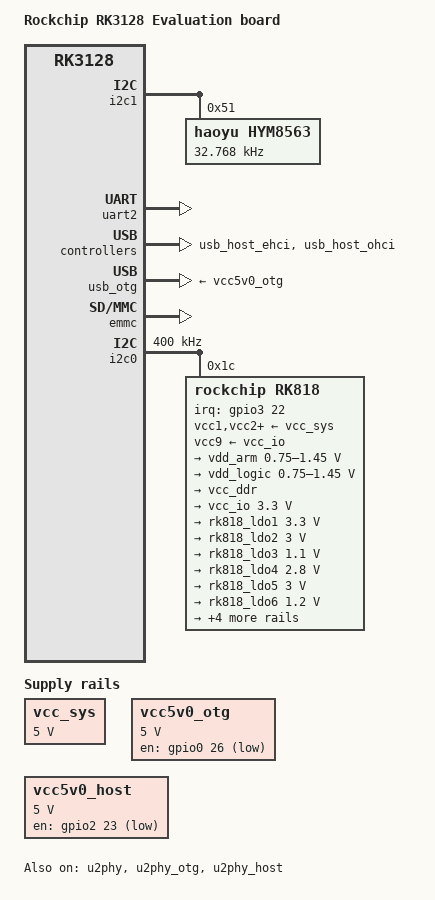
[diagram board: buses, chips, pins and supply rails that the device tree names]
/*
 * (C) Copyright 2017 Rockchip Electronics Co., Ltd
 *
 * SPDX-License-Identifier:     GPL-2.0+
 */

/dts-v1/;

#include "rk3128.dtsi"
#include "rk3128-u-boot.dtsi"

/ {
	model = "Rockchip RK3128 Evaluation board";
	compatible = "rockchip,rk3128-evb", "rockchip,rk3128";

	vcc_sys: vcc-sys {
		compatible = "regulator-fixed";
		regulator-name = "vcc_sys";
		regulator-always-on;
		regulator-boot-on;
		regulator-min-microvolt = <5000000>;
		regulator-max-microvolt = <5000000>;
	};

	vcc5v0_otg: vcc5v0-otg-drv {
		compatible = "regulator-fixed";
		regulator-name = "vcc5v0_otg";
		gpio = <&gpio0 26 GPIO_ACTIVE_HIGH>;
		pinctrl-names = "default";
		pinctrl-0 = <&otg_vbus_drv>;
		regulator-min-microvolt = <5000000>;
		regulator-max-microvolt = <5000000>;
	};

	vcc5v0_host: vcc5v0-host-drv {
		compatible = "regulator-fixed";
		regulator-name = "vcc5v0_host";
		gpio = <&gpio2 23 GPIO_ACTIVE_HIGH>;
		pinctrl-names = "default";
		pinctrl-0 = <&host_vbus_drv>;
		regulator-min-microvolt = <5000000>;
		regulator-max-microvolt = <5000000>;
		regulator-always-on;
	};
};

&i2c1 {
	status = "okay";

        hym8563: hym8563@51 {
		compatible = "haoyu,hym8563";
		reg = <0x51>;
		#clock-cells = <0>;
		clock-frequency = <32768>;
		clock-output-names = "xin32k";
	};
};

&u2phy {
	status = "okay";
};

&u2phy_otg {
	status = "okay";
};

&u2phy_host {
	status = "okay";
};

&uart2 {
	status = "okay";
};

&usb_host_ehci {
	status = "okay";
};

&usb_host_ohci {
	status = "okay";
};

&usb_otg {
	vbus-supply = <&vcc5v0_otg>;
	status = "okay";
};

&emmc {
	fifo-mode;
	status = "okay";
};

&i2c0 {
	status = "okay";
	clock-frequency = <400000>;

	rk818: pmic@1c {
		compatible = "rockchip,rk818";
		status = "okay";
		reg = <0x1c>;
		clock-output-names = "rk818-clkout1", "wifibt_32kin";
		interrupt-parent = <&gpio3>;
		interrupts = <22 IRQ_TYPE_LEVEL_LOW>;
		pinctrl-names = "default";
		pinctrl-0 = <&pmic_int_l>;
		rockchip,system-power-controller;
		wakeup-source;
		#clock-cells = <1>;

		vcc1-supply = <&vcc_sys>;
		vcc2-supply = <&vcc_sys>;
		vcc3-supply = <&vcc_sys>;
		vcc4-supply = <&vcc_sys>;
		vcc6-supply = <&vcc_sys>;
		vcc7-supply = <&vcc_sys>;
		vcc8-supply = <&vcc_sys>;
		vcc9-supply = <&vcc_io>;

		regulators {
			vdd_arm: DCDC_REG1 {
				regulator-name = "vdd_arm";
				regulator-always-on;
				regulator-boot-on;
				regulator-min-microvolt = <750000>;
				regulator-max-microvolt = <1450000>;
				regulator-ramp-delay = <6001>;
				regulator-state-mem {
					regulator-on-in-suspend;
					regulator-suspend-microvolt = <1100000>;
				};
			};

			vdd_logic: DCDC_REG2 {
				regulator-name = "vdd_logic";
				regulator-always-on;
				regulator-boot-on;
				regulator-min-microvolt = <750000>;
				regulator-max-microvolt = <1450000>;
				regulator-ramp-delay = <6001>;
				regulator-state-mem {
					regulator-on-in-suspend;
					regulator-suspend-microvolt = <1100000>;
				};
			};

			vcc_ddr: DCDC_REG3 {
				regulator-name = "vcc_ddr";
				regulator-always-on;
				regulator-boot-on;
				regulator-state-mem {
					regulator-on-in-suspend;
				};
			};

			vcc_io: DCDC_REG4 {
				regulator-name = "vcc_io";
				regulator-always-on;
				regulator-boot-on;
				regulator-min-microvolt = <3300000>;
				regulator-max-microvolt = <3300000>;
				regulator-state-mem {
					regulator-on-in-suspend;
					regulator-suspend-microvolt = <3300000>;
				};
			};

			rk818_ldo1: LDO_REG1 {
				regulator-name = "rk818_ldo1";
				regulator-always-on;
				regulator-boot-on;
				regulator-min-microvolt = <3300000>;
				regulator-max-microvolt = <3300000>;
				regulator-state-mem {
					regulator-on-in-suspend;
					regulator-suspend-microvolt = <3300000>;
				};
			};

			rk818_ldo2: LDO_REG2 {
				regulator-name = "rk818_ldo2";
				regulator-always-on;
				regulator-boot-on;
				regulator-min-microvolt = <3000000>;
				regulator-max-microvolt = <3000000>;
				regulator-state-mem {
					regulator-on-in-suspend;
					regulator-suspend-microvolt = <3000000>;
				};
			};

			rk818_ldo3: LDO_REG3 {
				regulator-name = "rk818_ldo3";
				regulator-always-on;
				regulator-boot-on;
				regulator-min-microvolt = <1100000>;
				regulator-max-microvolt = <1100000>;
				regulator-state-mem {
					regulator-on-in-suspend;
					regulator-suspend-microvolt = <1100000>;
				};
			};

			rk818_ldo4: LDO_REG4 {
				regulator-name = "rk818_ldo4";
				regulator-always-on;
				regulator-boot-on;
				regulator-min-microvolt = <2800000>;
				regulator-max-microvolt = <2800000>;
				regulator-state-mem {
					regulator-on-in-suspend;
					regulator-suspend-microvolt = <2800000>;
				};
			};

			rk818_ldo5: LDO_REG5 {
				regulator-name = "rk818_ldo5";
				regulator-always-on;
				regulator-boot-on;
				regulator-min-microvolt = <3000000>;
				regulator-max-microvolt = <3000000>;
				regulator-state-mem {
					regulator-on-in-suspend;
					regulator-suspend-microvolt = <3000000>;
				};
			};

			rk818_ldo6: LDO_REG6 {
				regulator-name = "rk818_ldo6";
				regulator-always-on;
				regulator-boot-on;
				regulator-min-microvolt = <1200000>;
				regulator-max-microvolt = <1200000>;
				regulator-state-mem {
					regulator-on-in-suspend;
					regulator-suspend-microvolt = <1200000>;
				};
			};

			rk818_ldo7: LDO_REG7 {
				regulator-name = "rk818_ldo7";
				regulator-always-on;
				regulator-boot-on;
				regulator-min-microvolt = <1800000>;
				regulator-max-microvolt = <1800000>;
				regulator-state-mem {
					regulator-on-in-suspend;
					regulator-suspend-microvolt = <1800000>;
				};
			};

			rk818_ldo8: LDO_REG8 {
				regulator-name = "rk818_ldo8";
				regulator-always-on;
				regulator-boot-on;
				regulator-min-microvolt = <1800000>;
				regulator-max-microvolt = <1800000>;
				regulator-state-mem {
					regulator-on-in-suspend;
					regulator-suspend-microvolt = <1800000>;
				};
			};

			vcc_sd: LDO_REG9 {
				regulator-name = "vcc_sd";
				regulator-always-on;
				regulator-boot-on;
				regulator-min-microvolt = <1800000>;
				regulator-max-microvolt = <3000000>;
				regulator-state-mem {
					regulator-on-in-suspend;
					regulator-suspend-microvolt = <3000000>;
				};
			};

			rk818_ldo10: SWITCH_REG {
				regulator-name = "rk818_ldo10";
				regulator-always-on;
				regulator-boot-on;
				regulator-state-mem {
					regulator-on-in-suspend;
				};
			};
		};

		battery {
			compatible = "rk818-battery";
			ocv_table = <3400 3650 3693 3707 3731 3749 3760
				     3770 3782 3796 3812 3829 3852 3882
				     3915 3951 3981 4047 4086 4132 4182>;
			design_capacity = <4000>;
			design_qmax = <4000>;
			bat_res = <100>;
			max_input_current = <2000>;
			max_chrg_current = <1400>;
			max_chrg_voltage = <4200>;
			sleep_enter_current = <300>;
			sleep_exit_current = <300>;
			power_off_thresd = <3400>;
			zero_algorithm_vol = <3850>;
			energy_mode = <0>;
			fb_temperature = <105>;
			sample_res = <20>;
			max_soc_offset = <60>;
			monitor_sec = <5>;
			virtual_power = <1>;
			power_dc2otg = <0>;
		};
	};
};

&pinctrl {
	pmic {
		pmic_int_l: pmic-int-l {
			rockchip,pins = <RK_GPIO3 22 RK_FUNC_GPIO &pcfg_pull_default>;
		};
	};

	usb_otg {
		otg_vbus_drv: otg-vbus-drv {
			rockchip,pins = <0 26 RK_FUNC_GPIO &pcfg_pull_none>;
		};
	};

	usb_host {
		host_vbus_drv: host-vbus-drv {
			rockchip,pins = <2 23 RK_FUNC_GPIO &pcfg_pull_none>;
		};
	};
};
